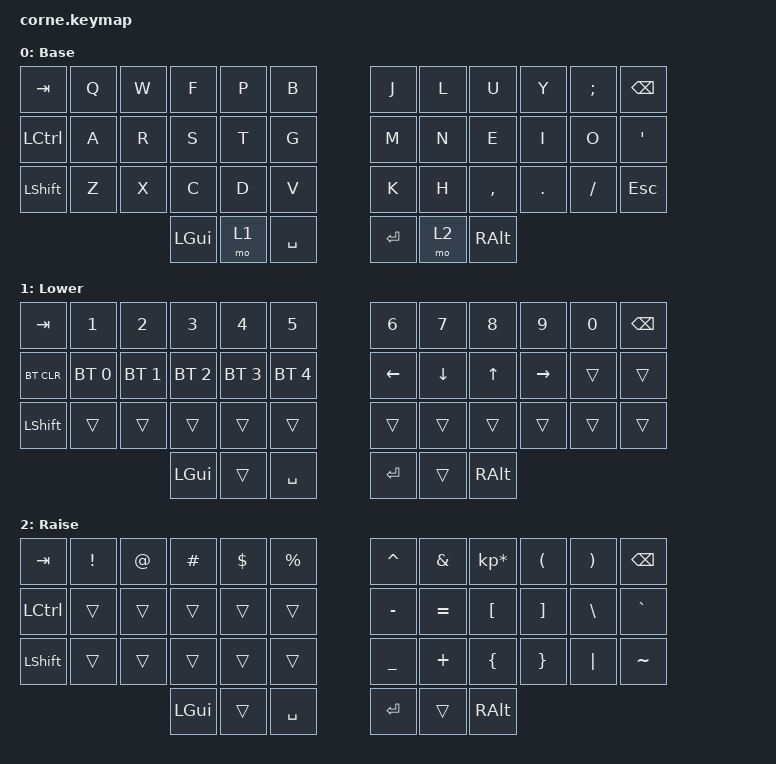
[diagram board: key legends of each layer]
/*
 * Copyright (c) 2020 The ZMK Contributors
 *
 * SPDX-License-Identifier: MIT
 */

#include <behaviors.dtsi>
#include <dt-bindings/zmk/keys.h>
#include <dt-bindings/zmk/bt.h>

&mt {
    tapping-term-ms = <800>;
            }; 

/ {
        keymap {
                compatible = "zmk,keymap";

                default_layer {
// -----------------------------------------------------------------------------------------
// |  TAB |  Q  |  W  |  F  |  P  |  B  |   |  J  |  L   |  U  |  Y  |  ;  | BKSP |
// | CTRL |  A  |  R  |  S  |  T  |  G  |   |  M  |  N   |  E  |  I  |  O  |  '   |
// | SHFT |  Z  |  X  |  C  |  D  |  V  |   |  K  |  H   |  ,  |  .  |  /  | ESC  |
//                    | GUI | LWR | SPC |   | ENT | RSE  | ALT |
                        display-name = "Base";
                        bindings = <
   &kp TAB   &kp Q &kp W &kp F &kp P &kp B   &kp J &kp L  &kp U     &kp Y   &kp SEMI &kp BSPC
   &kp LCTRL &kp A &kp R &kp S &kp T &kp G   &kp M &kp N  &kp E     &kp I   &kp O    &kp SQT
   &kp LSHFT &kp Z &kp X &kp C &kp D &kp V   &kp K &kp H  &kp COMMA &kp DOT &kp FSLH &kp ESC
                  &kp LGUI &mo 1 &kp SPACE   &kp RET &mo 2 &kp RALT
                        >;
                };
                lower_layer {
// -----------------------------------------------------------------------------------------
// |  TAB |  1  |  2  |  3  |  4  |  5  |   |  6  |  7  |  8  |  9  |  0  | BKSP |
// | BTCLR| BT1 | BT2 | BT3 | BT4 | BT5 |   | LFT | DWN |  UP | RGT |     |      |
// | SHFT |     |     |     |     |     |   |     |     |     |     |     |      |
//                    | GUI |     | SPC |   | ENT |     | ALT |
                        display-name = "Lower";
                        bindings = <
   &kp TAB    &kp N1       &kp N2       &kp N3       &kp N4       &kp N5         &kp N6   &kp N7   &kp N8 &kp N9    &kp N0 &kp BSPC
   &bt BT_CLR &bt BT_SEL 0 &bt BT_SEL 1 &bt BT_SEL 2 &bt BT_SEL 3 &bt BT_SEL 4   &kp LEFT &kp DOWN &kp UP &kp RIGHT &trans &trans
   &kp LSHFT  &trans       &trans       &trans       &trans       &trans         &trans   &trans   &trans &trans    &trans &trans
                          	        &kp LGUI     &trans       &kp SPACE      &kp RET  &trans   &kp RALT
                        >;
                };

                raise_layer {
// -----------------------------------------------------------------------------------------
// |  TAB |  !  |  @  |  #  |  $  |  %  |   |  ^  |  &  |  *  |  (  |  )  | BKSP |
// | CTRL |     |     |     |     |     |   |  -  |  =  |  [  |  ]  |  \  |  `   |
// | SHFT |     |     |     |     |     |   |  _  |  +  |  {  |  }  | "|" |  ~   |
//                    | GUI |     | SPC |   | ENT |     | ALT |
                        display-name = "Raise";
                        bindings = <
   &kp  TAB  &kp EXCL &kp AT &kp HASH &kp DLLR &kp PRCNT   &kp CARET &kp AMPS  &kp KP_MULTIPLY &kp LPAR &kp RPAR &kp BSPC
   &kp LCTRL &trans   &trans &trans   &trans   &trans      &kp MINUS &kp EQUAL &kp LBKT        &kp RBKT &kp BSLH &kp GRAVE
   &kp LSHFT &trans   &trans &trans   &trans   &trans      &kp UNDER &kp PLUS  &kp LBRC        &kp RBRC &kp PIPE &kp TILDE
                    	     &kp LGUI &trans   &kp SPACE   &kp RET   &trans    &kp RALT
                        >;
                };

        extra_1 {
            status = "reserved";
                };
        extra_2 {
            status = "reserved";
                };
        extra_3 {
            status = "reserved";
                };
        layer4 {
            status = "reserved";
                };
        layer5 {
            status = "reserved";
                };
        layer6 {
            status = "reserved";
                };
        layer7 {
            status = "reserved";
                };
        layer8 {
            status = "reserved";
                };
        layer9 {
            status = "reserved";
                };
        layer10 {
            status = "reserved";
        };
        };
};
